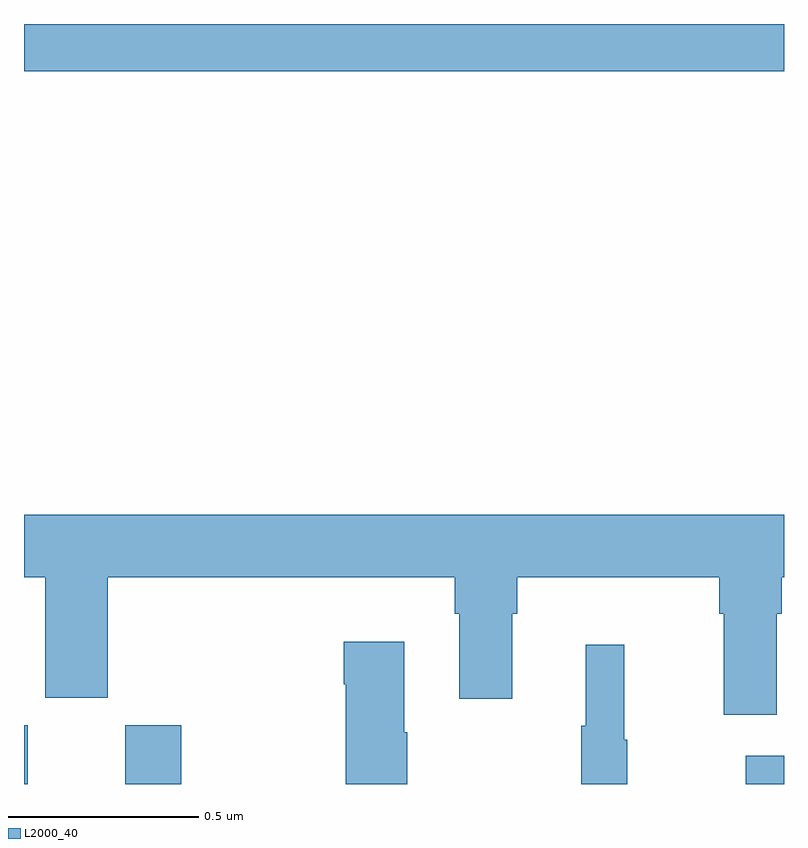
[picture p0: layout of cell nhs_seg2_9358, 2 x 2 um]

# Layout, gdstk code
import gdstk
lib = gdstk.Library(unit=1e-6, precision=1e-09)
def R(c, l, rs):  # rectangles x0, y0, x1, y1
    for r in rs: c.add(gdstk.rectangle(r[:2], r[2:], *l))
def P(c, l, *ps):  # polygons
    for p in ps: c.add(gdstk.Polygon(p, *l))
L2000_40 = (2000, 40)

nhs_seg2_9358 = lib.new_cell('nhs_seg2_9358')
R(nhs_seg2_9358, L2000_40, [(228,605.8,228.01,605.955), (228.266,605.8,228.414,605.955), (229.899,605.8,230,605.875), (228,607.676,230,607.8)])
P(nhs_seg2_9358, L2000_40, [(229.981,606.248),(229.994,606.248),(229.994,606.344),(230,606.344),(230,606.508),(228,606.508),(228,606.344),(228.056,606.344),(228.056,606.027),(228.22,606.027),(228.22,606.344),(229.133,606.344),(229.133,606.248),(229.145,606.248),(229.145,606.024),(229.285,606.024),(229.285,606.248),(229.298,606.248),(229.298,606.344),(229.829,606.344),(229.829,606.248),(229.841,606.248),(229.841,605.982),(229.981,605.982)],
  [(229.008,605.936),(229,605.936),(229,606.175),(228.842,606.175),(228.842,606.062),(228.847,606.062),(228.847,605.8),(229.008,605.8)],
  [(229.588,605.916),(229.58,605.916),(229.58,606.166),(229.478,606.166),(229.478,605.953),(229.467,605.953),(229.467,605.8),(229.588,605.8)])

lib.write_gds('nhs_seg2_9358.gds')
